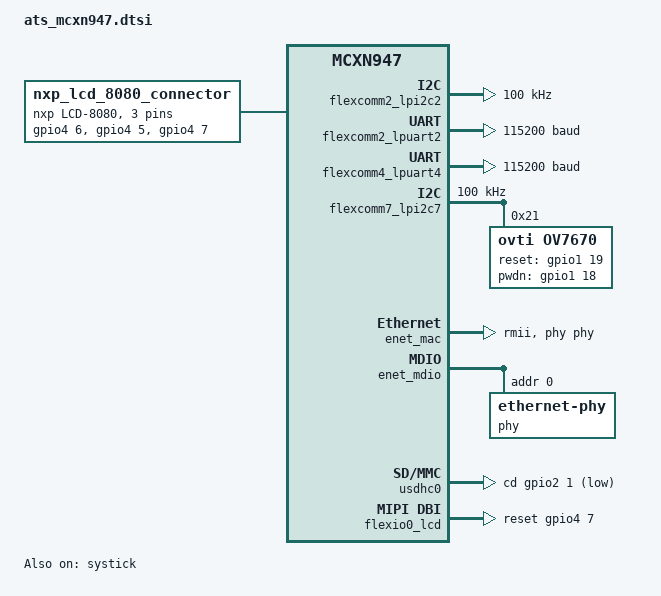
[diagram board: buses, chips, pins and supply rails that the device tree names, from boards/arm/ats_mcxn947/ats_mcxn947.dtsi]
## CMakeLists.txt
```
# SPDX-License-Identifier: Apache-2.0

cmake_minimum_required(VERSION 3.20.0)
set(CONF_FILE "prj.conf")
list(APPEND CONF_FILE "network_conf.conf")
find_package(Zephyr REQUIRED HINTS $ENV{ZEPHYR_BASE})
find_package(Python REQUIRED COMPONENTS Interpreter)

project(http_server)

if(CONFIG_NET_SOCKETS_SOCKOPT_TLS AND
   CONFIG_MBEDTLS_KEY_EXCHANGE_PSK_ENABLED AND
   (CONFIG_NET_SAMPLE_PSK_HEADER_FILE STREQUAL "dummy_psk.h"))
  add_custom_target(development_psk
    COMMAND ${CMAKE_COMMAND} -E echo "----------------------------------------------------------"
    COMMAND ${CMAKE_COMMAND} -E echo "--- WARNING: Using dummy PSK! Only suitable for        ---"
    COMMAND ${CMAKE_COMMAND} -E echo "--- development. Set NET_SAMPLE_PSK_HEADER_FILE to use ---"
    COMMAND ${CMAKE_COMMAND} -E echo "--- own pre-shared key.                                ---"
    COMMAND ${CMAKE_COMMAND} -E echo "----------------------------------------------------------"
  )
  add_dependencies(app development_psk)
endif()

set(CERTS_DIR ${CMAKE_CURRENT_SOURCE_DIR}/src/certs)

add_custom_target(sample_ca_cert
  WORKING_DIRECTORY ${CERTS_DIR}
  COMMAND sh gen_ca_cert.sh
  COMMENT "Generating sample CA certificate"
)

add_custom_target(sample_server_cert
  WORKING_DIRECTORY ${CERTS_DIR}
  COMMAND sh gen_server_cert.sh
  COMMENT "Generating sample server certificate"
)

option(INCLUDE_HTML_CONTENT "Include the HTML content" ON)

target_sources(app PRIVATE src/main.c 
                           src/error_handling/error_handling.c
                           src/shift_reg/shift_reg.c
                  )
target_include_directories(app PUBLIC src/error_handling
                                      src/shift_reg
                                      )
set(gen_dir ${ZEPHYR_BINARY_DIR}/include/generated/)

target_sources_ifdef(CONFIG_NET_SAMPLE_WEBSOCKET_SERVICE app PRIVATE src/ws.c)
target_sources_ifdef(CONFIG_USB_DEVICE_STACK app PRIVATE src/usb.c)

target_link_libraries(app PRIVATE zephyr_interface zephyr)

zephyr_linker_sources(SECTIONS sections-rom.ld)
zephyr_linker_section_ifdef(CONFIG_NET_SAMPLE_HTTPS_SERVICE NAME
				http_resource_desc_test_https_service
				KVMA RAM_REGION GROUP RODATA_REGION
				SUBALIGN ${CONFIG_LINKER_ITERABLE_SUBALIGN})
zephyr_linker_section_ifdef(CONFIG_NET_SAMPLE_HTTP_SERVICE NAME
				http_resource_desc_test_http_service
				KVMA RAM_REGION GROUP RODATA_REGION
				SUBALIGN ${CONFIG_LINKER_ITERABLE_SUBALIGN})

foreach(web_resource
  index.html
  main.js
    )
  generate_inc_file_for_target(
    app
    src/static_web_resources/${web_resource}
    ${gen_dir}/${web_resource}.gz.inc
    --gzip
  )
endforeach()

foreach(inc_file
	server_cert.der
	server_privkey.der
    )
  generate_inc_file_for_target(
    app
    src/certs/${inc_file}
    ${gen_dir}/${inc_file}.inc
    )
endforeach()
```

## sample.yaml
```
sample:
  description: HTTP Server Sample
  name: http_server_sample
common:
  harness: net
  depends_on: netif
  min_ram: 192
  tags:
    - http
    - net
    - server
    - socket
  platform_exclude:
    - native_posix
    - native_posix/native/64
    - nrf5340dk/nrf5340/cpuapp/ns # Excluding due to ROM overflow.
  extra_args: EXTRA_CONF_FILE="network_conf.conf"
tests:
  sample.net.sockets.http.server: {}
  sample.net.sockets.https.server:
    extra_args: EXTRA_CONF_FILE="overlay-tls.conf"
```

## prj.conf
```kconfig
# General config
CONFIG_MAIN_STACK_SIZE=3072
CONFIG_SYSTEM_WORKQUEUE_STACK_SIZE=2048
CONFIG_SHELL=y
CONFIG_LOG=y
CONFIG_ENTROPY_GENERATOR=y
CONFIG_TEST_RANDOM_GENERATOR=y
CONFIG_INIT_STACKS=y
CONFIG_ZVFS_OPEN_MAX=32
CONFIG_POSIX_API=y
CONFIG_FDTABLE=y
CONFIG_ZVFS_POLL_MAX=32

# Eventfd
CONFIG_EVENTFD=y

CONFIG_ETH_DRIVER=y
CONFIG_NET_L2_ETHERNET=y
# Networking config
CONFIG_NETWORKING=y
CONFIG_NET_IPV4=y
CONFIG_NET_IPV6=y
CONFIG_NET_TCP=y
CONFIG_NET_SOCKETS=y
CONFIG_NET_CONNECTION_MANAGER=y
CONFIG_NET_SHELL=y
CONFIG_NET_STATISTICS=y
CONFIG_NET_STATISTICS_USER_API=y
CONFIG_NET_LOG=y

# JSON
CONFIG_JSON_LIBRARY=y

# HTTP parser
CONFIG_HTTP_PARSER_URL=y
CONFIG_HTTP_PARSER=y
CONFIG_HTTP_SERVER=y
CONFIG_HTTP_SERVER_WEBSOCKET=y
CONFIG_ETH_NXP_ENET_QOS_TX_BUFFER_DESCRIPTORS=16
CONFIG_ETH_NXP_ENET_QOS_RX_BUFFER_DESCRIPTORS=16
# Network buffers
CONFIG_NET_PKT_RX_COUNT=16
CONFIG_NET_PKT_TX_COUNT=16
CONFIG_NET_BUF_RX_COUNT=128
CONFIG_NET_BUF_TX_COUNT=128
CONFIG_NET_CONTEXT_NET_PKT_POOL=y

# IP address options
CONFIG_NET_IF_UNICAST_IPV6_ADDR_COUNT=3
CONFIG_NET_IF_MCAST_IPV6_ADDR_COUNT=4
CONFIG_NET_MAX_CONTEXTS=32
CONFIG_NET_MAX_CONN=32

# Network address config
CONFIG_NET_CONFIG_SETTINGS=y
CONFIG_NET_CONFIG_NEED_IPV4=y
CONFIG_NET_CONFIG_NEED_IPV6=n
# Networking tweaks
# Required to handle large number of consecutive connections
# e.g. when testing with ApacheBench.
CONFIG_NET_TCP_TIME_WAIT_DELAY=0

# Device drivers
CONFIG_GPIO=y
CONFIG_LED=y

# Network debug config
CONFIG_NET_SOCKETS_LOG_LEVEL_DBG=n
CONFIG_NET_HTTP_LOG_LEVEL_DBG=n
CONFIG_NET_IPV6_LOG_LEVEL_DBG=n
CONFIG_NET_IPV6_ND_LOG_LEVEL_DBG=n
```

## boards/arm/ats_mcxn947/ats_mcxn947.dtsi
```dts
/*
 * Copyright 2024 NXP
 *
 * SPDX-License-Identifier: Apache-2.0
 */

#include "ats_mcxn947-pinctrl.dtsi"
#include <zephyr/dt-bindings/i2c/i2c.h>
#include <zephyr/dt-bindings/input/input-event-codes.h>

/ {
	aliases{
		led0 = &red_led;
		led1 = &green_led;
		led2 = &blue_led;
		sw0 = &user_button_2;
		sw1 = &user_button_3;
		sdhc0 = &usdhc0;
		mcuboot-button0 = &user_button_2;
	};

	leds {
		compatible = "gpio-leds";
		green_led: led_1 {
			gpios = <&gpio0 27 GPIO_ACTIVE_LOW>;
			label = "Green LED";
			status = "disabled";
		};
		blue_led: led_2 {
			gpios = <&gpio1 2 GPIO_ACTIVE_LOW>;
			label = "Blue LED";
			status = "disabled";
		};
		red_led: led_3 {
			gpios = <&gpio0 10 GPIO_ACTIVE_LOW>;
			label = "Red LED";
			status = "disabled";
		};
	};

	gpio_keys {
		compatible = "gpio-keys";
		user_button_2: button_0 {
			label = "User SW2";
			gpios = <&gpio0 23 (GPIO_ACTIVE_LOW | GPIO_PULL_UP)>;
			zephyr,code = <INPUT_KEY_0>;
			status = "disabled";
		};
		user_button_3: button_1 {
			label = "User SW3";
			gpios = <&gpio0 6 (GPIO_ACTIVE_LOW | GPIO_PULL_UP)>;
			zephyr,code = <INPUT_KEY_1>;
			status = "disabled";
		};
	};

	/*
	 * This node describes the GPIO pins of the LCD-PAR-S035 panel 8080 interface.
	 */
	nxp_lcd_8080_connector: lcd-8080-connector {
		compatible = "nxp,lcd-8080";
		#gpio-cells = <2>;
		gpio-map-mask = <0xffffffff 0xffffffc0>;
		gpio-map-pass-thru = <0 0x3f>;
		gpio-map =	<9  0 &gpio4 6 0>,	/* Pin 9, LCD touch INT */
				<10  0 &gpio4 5 0>,	/* Pin 10, LCD backlight control */
				<11  0 &gpio4 7 0>;	/* Pin 11, LCD and touch reset */
	};
};

&flexcomm1_lpspi1 {
	pinctrl-0 = <&pinmux_flexcomm1_lpspi>;
	pinctrl-names = "default";
};

nxp_8080_touch_panel_i2c: &flexcomm2_lpi2c2 {
	pinctrl-0 = <&pinmux_flexcomm2_lpi2c>;
	pinctrl-names = "default";
	clock-frequency = <I2C_BITRATE_STANDARD>;
};

&flexcomm2_lpuart2 {
	current-speed = <115200>;
	pinctrl-0 = <&pinmux_flexcomm2_lpuart>;
	pinctrl-names = "default";
};

&flexcomm4_lpuart4 {
	current-speed = <115200>;
	pinctrl-0 = <&pinmux_flexcomm4_lpuart>;
	pinctrl-names = "default";
};

&flexcomm7_lpi2c7 {
	pinctrl-0 = <&pinmux_flexcomm7_lpi2c>;
	pinctrl-names = "default";
	clock-frequency = <I2C_BITRATE_STANDARD>;
	ov7670: ov7670@21 {
		compatible = "ovti,ov7670";
		reset-gpios = <&gpio1 19 GPIO_ACTIVE_HIGH>;
		pwdn-gpios = <&gpio1 18 GPIO_ACTIVE_HIGH>;
		reg = <0x21>;
	};
};

/* SmartDMA is used for video driver on this board */
&smartdma {
	status = "okay";
	program-mem = <0x4000000>;
	video_sdma: video-sdma {
		status = "okay";
		compatible = "nxp,video-smartdma";
		pinctrl-0 = <&pinmux_smartdma_camera>;
		pinctrl-names = "default";
		sensor = <&ov7670>;
		vsync-pin = <4>;
		hsync-pin = <11>;
		pclk-pin = <5>;
	};
};

/*
 * MCXN947 board uses OS timer as the kernel timer
 * In case we need to switch to SYSTICK timer, then
 * replace &os_timer with &systick
 */
&os_timer {
	status = "disabled";
};

&systick {
	status = "okay";
};

&sram {
	sramg: memory@20050000 {
		compatible = "mmio-sram";
		reg = <0x20050000 DT_SIZE_K(64)>;
	};
	sramh: memory@20060000 {
		compatible = "mmio-sram";
		reg = <0x20060000 DT_SIZE_K(32)>;
	};
};

&flash {
	partitions {
		compatible = "fixed-partitions";
		#address-cells = <1>;
		#size-cells = <1>;

		/*
		 * Partition sizes must be aligned
		 * to the flash memory sector size of 8KB.
		 */
		boot_partition: partition@0 {
			label = "mcuboot";
			reg = <0x00000000 DT_SIZE_K(80)>;
		};
		/* For the MCUBoot "upgrade only" method,
		 * the slot sizes must be equal.
		 */
		slot0_partition: partition@14000 {
			label = "image-0";
			reg = <0x00014000 DT_SIZE_K(984)>;
		};
		slot1_partition: partition@10A000 {
			label = "image-1";
			reg = <0x0010A000 DT_SIZE_K(984)>;
		};
		/* storage_partition is placed in WINBOND flash memory*/
	};
};

&flexspi {
	pinctrl-0 = <&pinmux_flexspi>;
	pinctrl-names = "default";
	ahb-prefetch;
	ahb-bufferable;
	ahb-cacheable;
	ahb-read-addr-opt;
	combination-mode;
	rx-clock-source = <1>;

	/* WINBOND flash memory*/
	w25q64jvssiq: w25q64jvssiq@0 {
		compatible = "nxp,imx-flexspi-nor";
		status = "disabled";
		size = <67108864>;
		reg = <0>;
		spi-max-frequency = <133000000>;
		jedec-id = [ef 40 17];
		erase-block-size = <4096>;
		write-block-size = <1>;
		cs-interval-unit = <1>;
		cs-interval = <2>;
		cs-hold-time = <3>;
		cs-setup-time = <3>;
		data-valid-time = <2>;
		column-space = <0>;
	};
};

&dac0 {
	pinctrl-0 = <&pinmux_dac0>;
	pinctrl-names = "default";
};

&sai1 {
	pinctrl-0 = <&pinmux_sai1>;
	pinctrl-names = "default";
};

&sai0 {
	pinctrl-0 = <&pinmux_sai0>;
	pinctrl-names = "default";
};

&enet {
	pinctrl-0 = <&pinmux_enet_qos>;
	pinctrl-names = "default";
};

&enet_mac {
	phy-connection-type = "rmii";
	zephyr,random-mac-address;
	phy-handle = <&phy>;
};

&enet_mdio {
	phy: ethernet-phy@0 {
		compatible = "ethernet-phy";
		reg = <0>;
		status = "okay";
	};
};

&flexpwm1_pwm0 {
	pinctrl-0 = <&pinmux_flexpwm1_pwm0>;
	pinctrl-names = "default";
};

&usdhc0 {
	pinctrl-0 = <&pinmux_usdhc0>;
	pinctrl-1 = <&pinmux_usdhc0>;
	pinctrl-2 = <&pinmux_usdhc0>;
	cd-gpios = <&gpio2 1 GPIO_ACTIVE_LOW>;
	pinctrl-names = "default", "slow", "med";
	no-1-8-v;
};

&lpadc0 {
	pinctrl-0 = <&pinmux_lpadc0>;
	pinctrl-names = "default";
};

zephyr_mipi_dbi_parallel: &flexio0_lcd {
	/* DMA channels 0, muxed to FlexIO TX */
	dmas = <&edma0 0 61>;
	dma-names = "tx";
	shifters-count = <8>;
	timers-count = <1>;
	enwr-pin = <1>;
	rd-pin = <0>;
	data-pin-start = <16>;
	reset-gpios = <&gpio4 7 GPIO_ACTIVE_HIGH>;
	cs-gpios = <&gpio0 12 GPIO_ACTIVE_HIGH>;
	rs-gpios = <&gpio0 7 GPIO_ACTIVE_HIGH>;
	pinctrl-0 = <&pinmux_flexio_lcd>;
	pinctrl-names = "default";
};

&lpcmp0 {
	pinctrl-0 = <&pinmux_lpcmp0>;
	pinctrl-names = "default";
};

&i3c1 {
	pinctrl-0 = <&pinmux_i3c1>;
	pinctrl-names = "default";
};

&flexcan0 {
	pinctrl-0 = <&pinmux_flexcan0>;
	pinctrl-names = "default";
};

&sc_timer {
	pinctrl-0 = <&pinmux_sctimer>;
	pinctrl-names = "default";
};
```

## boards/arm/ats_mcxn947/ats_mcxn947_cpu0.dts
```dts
/*
 * Copyright 2024 NXP
 *
 * SPDX-License-Identifier: Apache-2.0
 */

/dts-v1/;

#include "ats_mcxn947_cpu0.dtsi"

/ {
	model = "NXP FRDM_N94 board";
	compatible = "nxp,mcxn947", "nxp,mcx";
};
```

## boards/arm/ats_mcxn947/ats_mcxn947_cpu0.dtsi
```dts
/*
 * Copyright 2024 NXP
 *
 * SPDX-License-Identifier: Apache-2.0
 */

/* Common dts file to enable supported features for CPU 0.
 * This file is included by both the default variant
 * which is run from internal flash and the QSPI variant.
 */
/dts-v1/;

#include <nxp/nxp_mcxn94x.dtsi>
#include "ats_mcxn947.dtsi"

/ {
	cpus {
		/delete-node/ cpu@1;
	};

	chosen {
		zephyr,sram = &sram0;
		zephyr,flash = &flash;
		zephyr,flash-controller = &fmu;
		zephyr,code-partition = &slot0_partition;
		zephyr,uart-mcumgr = &flexcomm4_lpuart4;
		zephyr,console = &flexcomm4_lpuart4;
		zephyr,shell-uart = &flexcomm4_lpuart4;
		zephyr,canbus = &flexcan0;
		zephyr,code-cpu1-partition = &slot1_partition;
	};

	aliases{
		watchdog0 = &wwdt0;
		pwm-0 = &flexpwm1_pwm0;
		pwm-1 = &sc_timer;
		rtc = &rtc;
	};
};

/*
 * Default for this board is to allocate SRAM0-5 to cpu0 but the
 * application can have an application specific device tree to
 * allocate the SRAM0-7 differently.
 *
 * For example, SRAM0-6 could be allocated to cpu0 with only SRAM7
 * for cpu1. This would require the value of sram0 to have a DT_SIZE_K
 * of 384. You would have to make updates to cpu1 sram settings as well.
 */
&sram0 {
	compatible = "mmio-sram";
	reg = <0x20000000 DT_SIZE_K(320)>;
};

&mbox {
	status = "okay";
};

&gpio5 {
    status = "okay";
};

&gpio4 {
	status = "okay";
};

&gpio1 {
	status = "okay";
};

&gpio0 {
	status = "okay";
};

&gpio2 {
	status = "okay";
};

&green_led {
	status = "okay";
};

&red_led {
	status = "okay";
};

&user_button_2 {
	status = "okay";
};

&edma0 {
	status = "okay";
};

&flexcomm1 {
	status = "okay";
};

&flexcomm1_lpspi1 {
	status = "okay";
};

&flexcomm2 {
	status = "okay";
};

&flexcomm2_lpi2c2 {
	status = "okay";
};

/*
 *LPFLEXCOMM supports UART and I2C on the same instance, enable this for
 * LFLEXCOMM2
 */
&flexcomm2_lpuart2 {
	status = "okay";
};

&flexcomm4 {
	status = "okay";
};

&flexcomm4_lpuart4 {
	status = "okay";
};

&flexcomm7 {
	status = "okay";
};

&flexcomm7_lpi2c7 {
	status = "okay";
};

&flexspi {
	status = "okay";
};

&w25q64jvssiq {
	status = "okay";
	partitions {
		compatible = "fixed-partitions";
		#address-cells = <1>;
		#size-cells = <1>;
		storage_partition: partition@0 {
			label = "storage";
			reg = <0x0 DT_SIZE_M(8)>;
		};
	};
};

&dac0 {
	status = "okay";
};

&enet {
	status = "okay";
};

&enet_mac {
	status = "okay";
};

&enet_mdio {
	status = "okay";
};

&wwdt0 {
	status = "okay";
};

&flexpwm1_pwm0 {
	status = "okay";
};

&flexcan0 {
	status = "okay";
};

&ctimer0 {
	status = "okay";
};

&usdhc0 {
	status = "okay";
	sdmmc {
		compatible = "zephyr,sdmmc-disk";
		disk-name = "SD";
		status = "okay";
	};
};

&vref {
	status = "okay";
};

&lpadc0 {
	status = "okay";
};

zephyr_udc0: &usb1 {
	status = "okay";
	phy-handle = <&usbphy1>;
};

&usbphy1 {
	status = "okay";
	tx-d-cal = <4>;
	tx-cal-45-dp-ohms = <7>;
	tx-cal-45-dm-ohms = <7>;
};

&lpcmp0 {
	status = "okay";
};

&lptmr0 {
	status = "okay";
};

&i3c1 {
	status = "okay";
};

&flexio0 {
	status = "okay";
};

&mrt0_channel0 {
	status = "okay";
};

&rtc {
	status = "okay";
};

&sc_timer {
	status = "okay";
};

&sai1 {
	status = "okay";
};
&sai0 {
	status = "okay";
};
```

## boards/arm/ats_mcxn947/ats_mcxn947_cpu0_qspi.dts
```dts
/*
 * Copyright 2024 NXP
 *
 * SPDX-License-Identifier: Apache-2.0
 */

/dts-v1/;

#include "ats_mcxn947_cpu0.dtsi"

/delete-node/ &slot0_partition;
/delete-node/ &slot1_partition;
/delete-node/ &storage_partition;

/ {
	model = "NXP FRDM_N94 board, QSPI variant";
	compatible = "nxp,mcxn947", "nxp,mcx";

	chosen {
		zephyr,flash = &w25q64jvssiq;
	};

};

&w25q64jvssiq {
	partitions {
		compatible = "fixed-partitions";
		#address-cells = <1>;
		#size-cells = <1>;

		slot0_partition: partition@0 {
			label = "image-0";
			reg = <0x00000000 DT_SIZE_M(3)>;
		};
		slot1_partition: partition@300000 {
			label = "image-1";
			reg = <0x00300000 DT_SIZE_M(3)>;
		};
		storage_partition: partition@600000 {
			label = "storage";
			reg = <0x00600000 DT_SIZE_M(2)>;
		};
	};
};
```

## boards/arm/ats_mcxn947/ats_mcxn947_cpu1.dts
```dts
/*
 * Copyright 2024 NXP
 *
 * SPDX-License-Identifier: Apache-2.0
 */

/dts-v1/;

#include <nxp/nxp_mcxn94x.dtsi>
#include "ats_mcxn947.dtsi"

/ {
	model = "NXP FRDM_N94 board";
	compatible = "nxp,mcxn947", "nxp,mcx";

	cpus {
		/delete-node/ cpu@0;
	};

	chosen {
		zephyr,sram = &sramg;
		zephyr,flash = &flash;
		zephyr,flash-controller = &fmu;
		zephyr,code-partition = &slot1_partition;
		zephyr,console = &flexcomm2_lpuart2;
		zephyr,shell-uart = &flexcomm2_lpuart2;
	};
};

&flexcomm2 {
	status = "okay";
};

&flexcomm2_lpuart2 {
	status = "okay";
};

&mbox {
	status = "okay";
};

&gpio4 {
	status = "okay";
};

&gpio1 {
	status = "okay";
};

&gpio0 {
	status = "okay";
};

&gpio2 {
	status = "okay";
};

&green_led {
	status = "okay";
};

&red_led {
	status = "okay";
};

&user_button_2 {
	status = "okay";
};

&edma0 {
	status = "okay";
};
```

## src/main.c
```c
/*
 * Copyright (c) 2023, Emna Rekik
 * Copyright (c) 2024, Nordic Semiconductor
 *
 * SPDX-License-Identifier: Apache-2.0
 */

#include <stdio.h>
#include <inttypes.h>

#include <zephyr/kernel.h>
#include <zephyr/net/tls_credentials.h>
#include <zephyr/net/http/server.h>
#include <zephyr/net/http/service.h>
#include <zephyr/net/net_ip.h>
#include <zephyr/net/socket.h>
#include "zephyr/device.h"
#include "zephyr/sys/util.h"
#include <zephyr/drivers/led.h>
#include <zephyr/data/json.h>
#include <zephyr/sys/util_macro.h>

#include "ws.h"

#include <zephyr/logging/log.h>
LOG_MODULE_REGISTER(net_http_server_sample, LOG_LEVEL_DBG);

struct led_command {
	int led_num;
	bool led_state;
};

static const struct json_obj_descr led_command_descr[] = {
	JSON_OBJ_DESCR_PRIM(struct led_command, led_num, JSON_TOK_NUMBER),
	JSON_OBJ_DESCR_PRIM(struct led_command, led_state, JSON_TOK_TRUE),
};

static const struct device *leds_dev = DEVICE_DT_GET_ANY(gpio_leds);

static uint8_t index_html_gz[] = {
#include "index.html.gz.inc"
};

static uint8_t main_js_gz[] = {
#include "main.js.gz.inc"
};

static struct http_resource_detail_static index_html_gz_resource_detail = {
	.common = {
			.type = HTTP_RESOURCE_TYPE_STATIC,
			.bitmask_of_supported_http_methods = BIT(HTTP_GET),
			.content_encoding = "gzip",
			.content_type = "text/html",
		},
	.static_data = index_html_gz,
	.static_data_len = sizeof(index_html_gz),
};

static struct http_resource_detail_static main_js_gz_resource_detail = {
	.common = {
			.type = HTTP_RESOURCE_TYPE_STATIC,
			.bitmask_of_supported_http_methods = BIT(HTTP_GET),
			.content_encoding = "gzip",
			.content_type = "text/javascript",
		},
	.static_data = main_js_gz,
	.static_data_len = sizeof(main_js_gz),
};

static int echo_handler(struct http_client_ctx *client, enum http_data_status status,
			const struct http_request_ctx *request_ctx,
			struct http_response_ctx *response_ctx, void *user_data)
{
#define MAX_TEMP_PRINT_LEN 32
	static char print_str[MAX_TEMP_PRINT_LEN];
	enum http_method method = client->method;
	static size_t processed;

	if (status == HTTP_SERVER_DATA_ABORTED) {
		LOG_DBG("Transaction aborted after %zd bytes.", processed);
		processed = 0;
		return 0;
	}

	__ASSERT_NO_MSG(buffer != NULL);

	processed += request_ctx->data_len;

	snprintf(print_str, sizeof(print_str), "%s received (%zd bytes)", http_method_str(method),
		 request_ctx->data_len);
	LOG_HEXDUMP_DBG(request_ctx->data, request_ctx->data_len, print_str);

	if (status == HTTP_SERVER_DATA_FINAL) {
		LOG_DBG("All data received (%zd bytes).", processed);
		processed = 0;
	}

	/* Echo data back to client */
	response_ctx->body = request_ctx->data;
	response_ctx->body_len = request_ctx->data_len;
	response_ctx->final_chunk = (status == HTTP_SERVER_DATA_FINAL);

	return 0;
}

static struct http_resource_detail_dynamic echo_resource_detail = {
	.common = {
			.type = HTTP_RESOURCE_TYPE_DYNAMIC,
			.bitmask_of_supported_http_methods = BIT(HTTP_GET) | BIT(HTTP_POST),
		},
	.cb = echo_handler,
	.user_data = NULL,
};

static int uptime_handler(struct http_client_ctx *client, enum http_data_status status,
			  const struct http_request_ctx *request_ctx,
			  struct http_response_ctx *response_ctx, void *user_data)
{
	int ret;
	static uint8_t uptime_buf[sizeof(STRINGIFY(INT64_MAX))];

	LOG_DBG("Uptime handler status %d", status);

	/* A payload is not expected with the GET request. Ignore any data and wait until
	 * final callback before sending response
	 */
	if (status == HTTP_SERVER_DATA_FINAL) {
		ret = snprintf(uptime_buf, sizeof(uptime_buf), "%" PRId64, k_uptime_get());
		if (ret < 0) {
			LOG_ERR("Failed to snprintf uptime, err %d", ret);
			return ret;
		}

		response_ctx->body = uptime_buf;
		response_ctx->body_len = ret;
		response_ctx->final_chunk = true;
	}

	return 0;
}

static struct http_resource_detail_dynamic uptime_resource_detail = {
	.common = {
			.type = HTTP_RESOURCE_TYPE_DYNAMIC,
			.bitmask_of_supported_http_methods = BIT(HTTP_GET),
		},
	.cb = uptime_handler,
	.user_data = NULL,
};

static void parse_led_post(uint8_t *buf, size_t len)
{
	int ret;
	struct led_command cmd;
	const int expected_return_code = BIT_MASK(ARRAY_SIZE(led_command_descr));

	ret = json_obj_parse(buf, len, led_command_descr, ARRAY_SIZE(led_command_descr), &cmd);
	if (ret != expected_return_code) {
		LOG_WRN("Failed to fully parse JSON payload, ret=%d", ret);
		return;
	}

	LOG_INF("POST request setting LED %d to state %d", cmd.led_num, cmd.led_state);

	if (leds_dev != NULL) {
		if (cmd.led_state) {
			led_on(leds_dev, cmd.led_num);
		} else {
			led_off(leds_dev, cmd.led_num);
		}
	}
}

static int led_handler(struct http_client_ctx *client, enum http_data_status status,
		       const struct http_request_ctx *request_ctx,
		       struct http_response_ctx *response_ctx, void *user_data)
{
	static uint8_t post_payload_buf[32];
	static size_t cursor;

	LOG_DBG("LED handler status %d, size %zu", status, request_ctx->data_len);

	if (status == HTTP_SERVER_DATA_ABORTED) {
		cursor = 0;
		return 0;
	}

	if (request_ctx->data_len + cursor > sizeof(post_payload_buf)) {
		cursor = 0;
		return -ENOMEM;
	}

	/* Copy payload to our buffer. Note that even for a small payload, it may arrive split into
	 * chunks (e.g. if the header size was such that the whole HTTP request exceeds the size of
	 * the client buffer).
	 */
	memcpy(post_payload_buf + cursor, request_ctx->data, request_ctx->data_len);
	cursor += request_ctx->data_len;

	if (status == HTTP_SERVER_DATA_FINAL) {
		parse_led_post(post_payload_buf, cursor);
		cursor = 0;
	}

	return 0;
}

static struct http_resource_detail_dynamic led_resource_detail = {
	.common = {
			.type = HTTP_RESOURCE_TYPE_DYNAMIC,
			.bitmask_of_supported_http_methods = BIT(HTTP_POST),
		},
	.cb = led_handler,
	.user_data = NULL,
};

#if defined(CONFIG_NET_SAMPLE_WEBSOCKET_SERVICE)
static uint8_t ws_echo_buffer[1024];

struct http_resource_detail_websocket ws_echo_resource_detail = {
	.common = {
			.type = HTTP_RESOURCE_TYPE_WEBSOCKET,

			/* We need HTTP/1.1 Get method for upgrading */
			.bitmask_of_supported_http_methods = BIT(HTTP_GET),
		},
	.cb = ws_echo_setup,
	.data_buffer = ws_echo_buffer,
	.data_buffer_len = sizeof(ws_echo_buffer),
	.user_data = NULL, /* Fill this for any user specific data */
};

static uint8_t ws_netstats_buffer[128];

struct http_resource_detail_websocket ws_netstats_resource_detail = {
	.common = {
			.type = HTTP_RESOURCE_TYPE_WEBSOCKET,
			.bitmask_of_supported_http_methods = BIT(HTTP_GET),
		},
	.cb = ws_netstats_setup,
	.data_buffer = ws_netstats_buffer,
	.data_buffer_len = sizeof(ws_netstats_buffer),
	.user_data = NULL,
};

#endif /* CONFIG_NET_SAMPLE_WEBSOCKET_SERVICE */

#if defined(CONFIG_NET_SAMPLE_HTTP_SERVICE)
static uint16_t test_http_service_port = CONFIG_NET_SAMPLE_HTTP_SERVER_SERVICE_PORT;
HTTP_SERVICE_DEFINE(test_http_service, NULL, &test_http_service_port, 1,
		    10, NULL, NULL);

HTTP_RESOURCE_DEFINE(index_html_gz_resource, test_http_service, "/",
		     &index_html_gz_resource_detail);

HTTP_RESOURCE_DEFINE(main_js_gz_resource, test_http_service, "/main.js",
		     &main_js_gz_resource_detail);

HTTP_RESOURCE_DEFINE(echo_resource, test_http_service, "/dynamic", &echo_resource_detail);

HTTP_RESOURCE_DEFINE(uptime_resource, test_http_service, "/uptime", &uptime_resource_detail);

HTTP_RESOURCE_DEFINE(led_resource, test_http_service, "/led", &led_resource_detail);
#if defined(CONFIG_NET_SAMPLE_WEBSOCKET_SERVICE)
HTTP_RESOURCE_DEFINE(ws_echo_resource, test_http_service, "/ws_echo", &ws_echo_resource_detail);

HTTP_RESOURCE_DEFINE(ws_netstats_resource, test_http_service, "/", &ws_netstats_resource_detail);
#endif /* CONFIG_NET_SAMPLE_WEBSOCKET_SERVICE */
#endif /* CONFIG_NET_SAMPLE_HTTP_SERVICE */

#if defined(CONFIG_NET_SAMPLE_HTTPS_SERVICE)
#include "certificate.h"

static const sec_tag_t sec_tag_list_verify_none[] = {
		HTTP_SERVER_CERTIFICATE_TAG,
#if defined(CONFIG_MBEDTLS_KEY_EXCHANGE_PSK_ENABLED)
		PSK_TAG,
#endif
	};

static uint16_t test_https_service_port = CONFIG_NET_SAMPLE_HTTPS_SERVER_SERVICE_PORT;
HTTPS_SERVICE_DEFINE(test_https_service, NULL,
		     &test_https_service_port, 1, 10, NULL, NULL,
		     sec_tag_list_verify_none, sizeof(sec_tag_list_verify_none));

HTTP_RESOURCE_DEFINE(index_html_gz_resource_https, test_https_service, "/",
		     &index_html_gz_resource_detail);

HTTP_RESOURCE_DEFINE(main_js_gz_resource_https, test_https_service, "/main.js",
		     &main_js_gz_resource_detail);

HTTP_RESOURCE_DEFINE(echo_resource_https, test_https_service, "/dynamic", &echo_resource_detail);

HTTP_RESOURCE_DEFINE(uptime_resource_https, test_https_service, "/uptime", &uptime_resource_detail);

HTTP_RESOURCE_DEFINE(led_resource_https, test_https_service, "/led", &led_resource_detail);

#if defined(CONFIG_NET_SAMPLE_WEBSOCKET_SERVICE)
HTTP_RESOURCE_DEFINE(ws_echo_resource_https, test_https_service, "/ws_echo",
		     &ws_echo_resource_detail);

HTTP_RESOURCE_DEFINE(ws_netstats_resource_https, test_https_service, "/",
		     &ws_netstats_resource_detail);
#endif /* CONFIG_NET_SAMPLE_WEBSOCKET_SERVICE */
#endif /* CONFIG_NET_SAMPLE_HTTPS_SERVICE */

static void setup_tls(void)
{
#if defined(CONFIG_NET_SAMPLE_HTTPS_SERVICE)
#if defined(CONFIG_NET_SOCKETS_SOCKOPT_TLS)
	int err;

	err = tls_credential_add(HTTP_SERVER_CERTIFICATE_TAG,
				 TLS_CREDENTIAL_SERVER_CERTIFICATE,
				 server_certificate,
				 sizeof(server_certificate));
	if (err < 0) {
		LOG_ERR("Failed to register public certificate: %d", err);
	}

	err = tls_credential_add(HTTP_SERVER_CERTIFICATE_TAG,
				 TLS_CREDENTIAL_PRIVATE_KEY,
				 private_key, sizeof(private_key));
	if (err < 0) {
		LOG_ERR("Failed to register private key: %d", err);
	}

#if defined(CONFIG_MBEDTLS_KEY_EXCHANGE_PSK_ENABLED)
	err = tls_credential_add(PSK_TAG,
				 TLS_CREDENTIAL_PSK,
				 psk,
				 sizeof(psk));
	if (err < 0) {
		LOG_ERR("Failed to register PSK: %d", err);
	}

	err = tls_credential_add(PSK_TAG,
				 TLS_CREDENTIAL_PSK_ID,
				 psk_id,
				 sizeof(psk_id) - 1);
	if (err < 0) {
		LOG_ERR("Failed to register PSK ID: %d", err);
	}
#endif /* defined(CONFIG_MBEDTLS_KEY_EXCHANGE_PSK_ENABLED) */
#endif /* defined(CONFIG_NET_SOCKETS_SOCKOPT_TLS) */
#endif /* defined(CONFIG_NET_SAMPLE_HTTPS_SERVICE) */
}

#if defined(CONFIG_USB_DEVICE_STACK)
int init_usb(void);
#else
static inline int init_usb(void)
{
	return 0;
}
#endif /* CONFIG_USB_DEVICE_STACK */

int main(void)
{
	init_usb();

	setup_tls();
	http_server_start();
	return 0;
}
```
